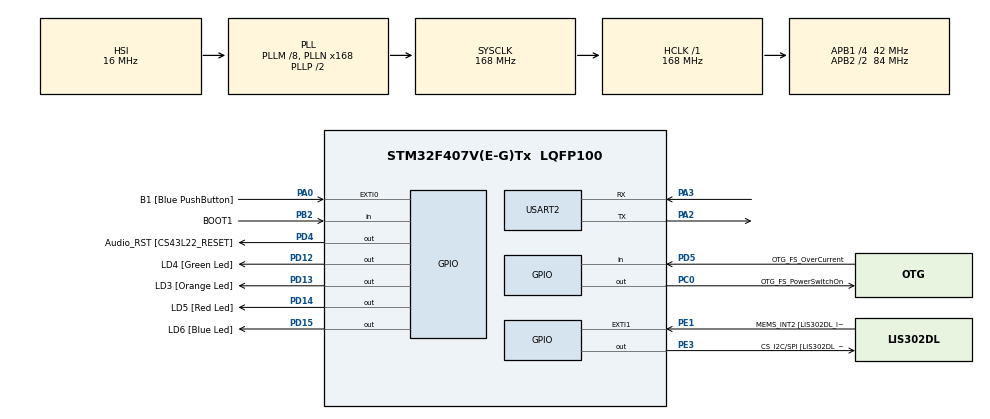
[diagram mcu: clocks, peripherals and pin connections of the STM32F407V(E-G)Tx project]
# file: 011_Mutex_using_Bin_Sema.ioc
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Mcu.Family=STM32F4
Mcu.Name=STM32F407V(E-G)Tx
Mcu.Package=LQFP100
NVIC.PriorityGroup=NVIC_PRIORITYGROUP_4
NVIC.TIM6_DAC_IRQn=true\:15\:0\:false\:false\:true\:false\:true\:true
NVIC.TimeBase=TIM6_DAC_IRQn
NVIC.TimeBaseIP=TIM6
NVIC.USART2_IRQn=true\:1\:0\:true\:false\:true\:true\:true\:true
PA0-WKUP.GPIO_Label=B1 [Blue PushButton]
PA0-WKUP.Signal=GPXTI0
PA10.GPIO_Label=OTG_FS_ID
PA10.GPIO_Mode=GPIO_MODE_AF_PP
PA10.GPIO_PuPd=GPIO_NOPULL
PA10.GPIO_Speed=GPIO_SPEED_FREQ_LOW
PA10.Signal=USB_OTG_FS_ID
PA11.GPIO_Label=OTG_FS_DM
PA11.GPIO_Mode=GPIO_MODE_AF_PP
PA11.GPIO_PuPd=GPIO_NOPULL
PA11.GPIO_Speed=GPIO_SPEED_FREQ_LOW
PA11.Signal=USB_OTG_FS_DM
PA12.GPIO_Label=OTG_FS_DP
PA12.GPIO_Mode=GPIO_MODE_AF_PP
PA12.GPIO_PuPd=GPIO_NOPULL
PA12.GPIO_Speed=GPIO_SPEED_FREQ_LOW
PA12.Signal=USB_OTG_FS_DP
PA13.GPIO_Label=SWDIO
PA13.Signal=SYS_JTMS-SWDIO
PA14.GPIO_Label=SWCLK
PA14.Signal=SYS_JTCK-SWCLK
PA2.Mode=Asynchronous
PA2.Signal=USART2_TX
PA3.Mode=Asynchronous
PA3.Signal=USART2_RX
PA4.GPIO_Label=I2S3_WS [CS43L22_LRCK]
PA4.GPIO_Mode=GPIO_MODE_AF_PP
PA4.GPIO_PuPd=GPIO_NOPULL
PA4.GPIO_Speed=GPIO_SPEED_FREQ_LOW
PA4.Signal=I2S3_WS
PA5.GPIO_Label=SPI1_SCK [LIS302DL_SCL/SPC]
PA5.GPIO_Mode=GPIO_MODE_AF_PP
PA5.GPIO_PuPd=GPIO_NOPULL
PA5.GPIO_Speed=GPIO_SPEED_FREQ_LOW
PA5.Signal=SPI1_SCK
PA6.GPIO_Label=SPI1_MISO [LIS302DL_SDO]
PA6.GPIO_Mode=GPIO_MODE_AF_PP
PA6.GPIO_PuPd=GPIO_NOPULL
PA6.GPIO_Speed=GPIO_SPEED_FREQ_LOW
PA6.Signal=SPI1_MISO
PA7.GPIO_Label=SPI1_MOSI [LIS302DL_SDA/SDI/SDO]
PA7.GPIO_Mode=GPIO_MODE_AF_PP
PA7.GPIO_PuPd=GPIO_NOPULL
PA7.GPIO_Speed=GPIO_SPEED_FREQ_LOW
PA7.Signal=SPI1_MOSI
PA9.GPIO_Label=VBUS_FS
PA9.GPIO_Mode=GPIO_MODE_INPUT
PA9.GPIO_PuPd=GPIO_NOPULL
PA9.Signal=USB_OTG_FS_VBUS
PB10.GPIO_Label=CLK_IN [MP45DT02_CLK]
PB10.GPIO_Mode=GPIO_MODE_AF_PP
PB10.GPIO_PuPd=GPIO_NOPULL
PB10.GPIO_Speed=GPIO_SPEED_FREQ_LOW
PB10.Signal=I2S2_CK
PB2.GPIO_Label=BOOT1
PB2.GPIO_Mode=GPIO_MODE_INPUT
PB2.GPIO_PuPd=GPIO_NOPULL
PB2.Signal=GPIO_Input
PB3.GPIO_Label=SWO
PB3.Signal=SYS_JTDO-SWO
PB6.GPIO_Label=Audio_SCL [CS43L22_SCL]
PB6.GPIO_Mode=GPIO_MODE_AF_OD
PB6.GPIO_PuPd=GPIO_NOPULL
PB6.GPIO_Speed=GPIO_SPEED_FREQ_LOW
PB6.Signal=I2C1_SCL
PB9.GPIO_Label=Audio_SDA [CS43L22_SDA]
PB9.GPIO_Mode=GPIO_MODE_AF_OD
PB9.GPIO_PuPd=GPIO_NOPULL
PB9.GPIO_Speed=GPIO_SPEED_FREQ_LOW
PB9.Signal=I2C1_SDA
PC0.GPIO_Label=OTG_FS_PowerSwitchOn
PC0.GPIO_PuPd=GPIO_NOPULL
PC0.GPIO_Speed=GPIO_SPEED_FREQ_LOW
PC0.PinState=GPIO_PIN_SET
PC0.Signal=GPIO_Output
PC10.GPIO_Label=I2S3_SCK [CS43L22_SCLK]
PC10.GPIO_Mode=GPIO_MODE_AF_PP
PC10.GPIO_PuPd=GPIO_NOPULL
PC10.GPIO_Speed=GPIO_SPEED_FREQ_LOW
PC10.Signal=I2S3_CK
PC12.GPIO_Label=I2S3_SD [CS43L22_SDIN]
PC12.GPIO_Mode=GPIO_MODE_AF_PP
PC12.GPIO_PuPd=GPIO_NOPULL
PC12.GPIO_Speed=GPIO_SPEED_FREQ_LOW
PC12.Signal=I2S3_SD
PC14-OSC32_IN.GPIO_Label=PC14-OSC32_IN
PC14-OSC32_IN.Signal=RCC_OSC32_IN
PC15-OSC32_OUT.GPIO_Label=PC15-OSC32_OUT
PC15-OSC32_OUT.Signal=RCC_OSC32_OUT
PC3.GPIO_Label=PDM_OUT [MP45DT02_DOUT]
PC3.GPIO_Mode=GPIO_MODE_AF_PP
PC3.GPIO_PuPd=GPIO_NOPULL
PC3.GPIO_Speed=GPIO_SPEED_FREQ_LOW
PC3.Signal=I2S2_SD
PC7.GPIO_Label=I2S3_MCK [CS43L22_MCLK]
PC7.GPIO_Mode=GPIO_MODE_AF_PP
PC7.GPIO_PuPd=GPIO_NOPULL
PC7.GPIO_Speed=GPIO_SPEED_FREQ_LOW
PC7.Signal=I2S3_MCK
PD12.GPIO_Label=LD4 [Green Led]
PD12.GPIO_PuPd=GPIO_NOPULL
PD12.GPIO_Speed=GPIO_SPEED_FREQ_LOW
PD12.Signal=GPIO_Output
PD13.GPIO_Label=LD3 [Orange Led]
PD13.GPIO_PuPd=GPIO_NOPULL
PD13.GPIO_Speed=GPIO_SPEED_FREQ_LOW
PD13.Signal=GPIO_Output
PD14.GPIO_Label=LD5 [Red Led]
PD14.GPIO_PuPd=GPIO_NOPULL
PD14.GPIO_Speed=GPIO_SPEED_FREQ_LOW
PD14.Signal=GPIO_Output
PD15.GPIO_Label=LD6 [Blue Led]
PD15.GPIO_PuPd=GPIO_NOPULL
PD15.GPIO_Speed=GPIO_SPEED_FREQ_LOW
PD15.Signal=GPIO_Output
PD4.GPIO_Label=Audio_RST [CS43L22_RESET]
PD4.GPIO_PuPd=GPIO_NOPULL
PD4.GPIO_Speed=GPIO_SPEED_FREQ_LOW
PD4.Signal=GPIO_Output
PD5.GPIO_Label=OTG_FS_OverCurrent
PD5.GPIO_Mode=GPIO_MODE_INPUT
PD5.GPIO_PuPd=GPIO_NOPULL
PD5.Signal=GPIO_Input
PE1.GPIO_Label=MEMS_INT2 [LIS302DL_INT2]
PE1.GPIO_ModeDefaultEXTI=GPIO_MODE_EVT_RISING
PE1.GPIO_PuPd=GPIO_NOPULL
PE1.Signal=GPXTI1
PE3.GPIO_Label=CS_I2C/SPI [LIS302DL_CS_I2C/SPI]
PE3.GPIO_PuPd=GPIO_NOPULL
PE3.GPIO_Speed=GPIO_SPEED_FREQ_LOW
PE3.Signal=GPIO_Output
PH0-OSC_IN.GPIO_Label=PH0-OSC_IN
PH0-OSC_IN.Signal=RCC_OSC_IN
PH1-OSC_OUT.GPIO_Label=PH1-OSC_OUT
PH1-OSC_OUT.Signal=RCC_OSC_OUT
ProjectManager.HeapSize=0x200
ProjectManager.StackSize=0x400
ProjectManager.TargetToolchain=STM32CubeIDE
RCC.48MHZClocksFreq_Value=48000000
RCC.AHBFreq_Value=168000000
RCC.APB1CLKDivider=RCC_HCLK_DIV4
RCC.APB1Freq_Value=42000000
RCC.APB1TimFreq_Value=84000000
RCC.APB2CLKDivider=RCC_HCLK_DIV2
RCC.APB2Freq_Value=84000000
RCC.APB2TimFreq_Value=168000000
RCC.CortexFreq_Value=168000000
RCC.HCLKFreq_Value=168000000
RCC.HSE_VALUE=8000000
RCC.HSI_VALUE=16000000
RCC.LSE_VALUE=32768
RCC.PLLM=8
RCC.PLLN=168
RCC.PLLQ=7
RCC.SYSCLKFreq_VALUE=168000000
RCC.SYSCLKSource=RCC_SYSCLKSOURCE_PLLCLK
RCC.VCOOutputFreq_Value=336000000
USART2.VirtualMode=VM_ASYNC
VP_SYS_VS_tim6.Mode=TIM6
board=STM32F407G-DISC1

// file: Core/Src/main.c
/* USER CODE BEGIN Header */
/**
  ******************************************************************************
  * @file           : main.c
  * @brief          : Main program body
  ******************************************************************************
  * @attention
  *
  * Copyright (c) 2024 STMicroelectronics.
  * All rights reserved.
  *
  * This software is licensed under terms that can be found in the LICENSE file
  * in the root directory of this software component.
  * If no LICENSE file comes with this software, it is provided AS-IS.
  *
  ******************************************************************************
  */
/* USER CODE END Header */
#include "main.h"

UART_HandleTypeDef huart2;

void SystemClock_Config(void);
static void MX_GPIO_Init(void);
static void MX_USART2_UART_Init(void);

/* USER CODE BEGIN 0 */
void vTask1(void *pvParameters);
void vTask2(void *pvParameters);

SemaphoreHandle_t handle_sema;
TaskHandle_t handle_task1 = NULL;
TaskHandle_t handle_task2 = NULL;

char usr_msg[250];

//SemaphoreHandle_t hanlde_sema;
/* USER CODE END 0 */

int main(void)
{

  /* USER CODE BEGIN 1 */
	BaseType_t status;

  /* USER CODE END 1 */

  /* MCU Configuration--------------------------------------------------------*/

  /* Reset of all peripherals, Initializes the Flash interface and the Systick. */
  HAL_Init();

  /* Configure the system clock */
  SystemClock_Config();

  /* Initialize all configured peripherals */
  MX_GPIO_Init();
  MX_USART2_UART_Init();
  /* USER CODE BEGIN 2 */

  sprintf(usr_msg, "Demo of mutual exclusion using binary semaphore\r\n");
  HAL_UART_Transmit(&huart2, (uint8_t*)usr_msg, strlen(usr_msg), HAL_MAX_DELAY);

  vSemaphoreCreateBinary(handle_sema);

  if(handle_sema != NULL)
  {

	  status = xTaskCreate(vTask1, "Task1", 500, NULL, 1, &handle_task1);
	  configASSERT(status == pdPASS);

	  status = xTaskCreate(vTask2, "Task2", 500, NULL, 1, &handle_task2);
	  configASSERT(status == pdPASS);

	  xSemaphoreGive(handle_sema);

	  vTaskStartScheduler();
  }else
  {
	  sprintf(usr_msg, "binary semaphore creation failed\r\n");
	  HAL_UART_Transmit(&huart2, (uint8_t*)usr_msg, strlen(usr_msg), HAL_MAX_DELAY);
  }
  /* USER CODE END 2 */

  /* Infinite loop */
  while (1)
  {

  }
}

void SystemClock_Config(void)
{
  RCC_OscInitTypeDef RCC_OscInitStruct = {0};
  RCC_ClkInitTypeDef RCC_ClkInitStruct = {0};

  /** Configure the main internal regulator output voltage
  */
  __HAL_RCC_PWR_CLK_ENABLE();
  __HAL_PWR_VOLTAGESCALING_CONFIG(PWR_REGULATOR_VOLTAGE_SCALE1);

  /** Initializes the RCC Oscillators according to the specified parameters
  * in the RCC_OscInitTypeDef structure.
  */
  RCC_OscInitStruct.OscillatorType = RCC_OSCILLATORTYPE_HSI;
  RCC_OscInitStruct.HSIState = RCC_HSI_ON;
  RCC_OscInitStruct.HSICalibrationValue = RCC_HSICALIBRATION_DEFAULT;
  RCC_OscInitStruct.PLL.PLLState = RCC_PLL_ON;
  RCC_OscInitStruct.PLL.PLLSource = RCC_PLLSOURCE_HSI;
  RCC_OscInitStruct.PLL.PLLM = 8;
  RCC_OscInitStruct.PLL.PLLN = 168;
  RCC_OscInitStruct.PLL.PLLP = RCC_PLLP_DIV2;
  RCC_OscInitStruct.PLL.PLLQ = 7;
  if (HAL_RCC_OscConfig(&RCC_OscInitStruct) != HAL_OK)
  {
    Error_Handler();
  }

  /** Initializes the CPU, AHB and APB buses clocks
  */
  RCC_ClkInitStruct.ClockType = RCC_CLOCKTYPE_HCLK|RCC_CLOCKTYPE_SYSCLK
                              |RCC_CLOCKTYPE_PCLK1|RCC_CLOCKTYPE_PCLK2;
  RCC_ClkInitStruct.SYSCLKSource = RCC_SYSCLKSOURCE_PLLCLK;
  RCC_ClkInitStruct.AHBCLKDivider = RCC_SYSCLK_DIV1;
  RCC_ClkInitStruct.APB1CLKDivider = RCC_HCLK_DIV4;
  RCC_ClkInitStruct.APB2CLKDivider = RCC_HCLK_DIV2;

  if (HAL_RCC_ClockConfig(&RCC_ClkInitStruct, FLASH_LATENCY_5) != HAL_OK)
  {
    Error_Handler();
  }
}

static void MX_USART2_UART_Init(void)
{

  huart2.Instance = USART2;
  huart2.Init.BaudRate = 115200;
  huart2.Init.WordLength = UART_WORDLENGTH_8B;
  huart2.Init.StopBits = UART_STOPBITS_1;
  huart2.Init.Parity = UART_PARITY_NONE;
  huart2.Init.Mode = UART_MODE_TX_RX;
  huart2.Init.HwFlowCtl = UART_HWCONTROL_NONE;
  huart2.Init.OverSampling = UART_OVERSAMPLING_16;
  if (HAL_UART_Init(&huart2) != HAL_OK)
  {
    Error_Handler();
  }

}

static void MX_GPIO_Init(void)
{
  GPIO_InitTypeDef GPIO_InitStruct = {0};

  /* GPIO Ports Clock Enable */
  __HAL_RCC_GPIOE_CLK_ENABLE();
  __HAL_RCC_GPIOC_CLK_ENABLE();
  __HAL_RCC_GPIOH_CLK_ENABLE();
  __HAL_RCC_GPIOA_CLK_ENABLE();
  __HAL_RCC_GPIOB_CLK_ENABLE();
  __HAL_RCC_GPIOD_CLK_ENABLE();

  /*Configure GPIO pin Output Level */
  HAL_GPIO_WritePin(CS_I2C_SPI_GPIO_Port, CS_I2C_SPI_Pin, GPIO_PIN_RESET);

  /*Configure GPIO pin Output Level */
  HAL_GPIO_WritePin(OTG_FS_PowerSwitchOn_GPIO_Port, OTG_FS_PowerSwitchOn_Pin, GPIO_PIN_SET);

  /*Configure GPIO pin Output Level */
  HAL_GPIO_WritePin(GPIOD, LD4_Pin|LD3_Pin|LD5_Pin|LD6_Pin
                          |Audio_RST_Pin, GPIO_PIN_RESET);

  /*Configure GPIO pin : CS_I2C_SPI_Pin */
  GPIO_InitStruct.Pin = CS_I2C_SPI_Pin;
  GPIO_InitStruct.Mode = GPIO_MODE_OUTPUT_PP;
  GPIO_InitStruct.Pull = GPIO_NOPULL;
  GPIO_InitStruct.Speed = GPIO_SPEED_FREQ_LOW;
  HAL_GPIO_Init(CS_I2C_SPI_GPIO_Port, &GPIO_InitStruct);

  /*Configure GPIO pin : OTG_FS_PowerSwitchOn_Pin */
  GPIO_InitStruct.Pin = OTG_FS_PowerSwitchOn_Pin;
  GPIO_InitStruct.Mode = GPIO_MODE_OUTPUT_PP;
  GPIO_InitStruct.Pull = GPIO_NOPULL;
  GPIO_InitStruct.Speed = GPIO_SPEED_FREQ_LOW;
  HAL_GPIO_Init(OTG_FS_PowerSwitchOn_GPIO_Port, &GPIO_InitStruct);

  /*Configure GPIO pin : PDM_OUT_Pin */
  GPIO_InitStruct.Pin = PDM_OUT_Pin;
  GPIO_InitStruct.Mode = GPIO_MODE_AF_PP;
  GPIO_InitStruct.Pull = GPIO_NOPULL;
  GPIO_InitStruct.Speed = GPIO_SPEED_FREQ_LOW;
  GPIO_InitStruct.Alternate = GPIO_AF5_SPI2;
  HAL_GPIO_Init(PDM_OUT_GPIO_Port, &GPIO_InitStruct);

  /*Configure GPIO pin : B1_Pin */
  GPIO_InitStruct.Pin = B1_Pin;
  GPIO_InitStruct.Mode = GPIO_MODE_IT_RISING;
  GPIO_InitStruct.Pull = GPIO_NOPULL;
  HAL_GPIO_Init(B1_GPIO_Port, &GPIO_InitStruct);

  /*Configure GPIO pin : I2S3_WS_Pin */
  GPIO_InitStruct.Pin = I2S3_WS_Pin;
  GPIO_InitStruct.Mode = GPIO_MODE_AF_PP;
  GPIO_InitStruct.Pull = GPIO_NOPULL;
  GPIO_InitStruct.Speed = GPIO_SPEED_FREQ_LOW;
  GPIO_InitStruct.Alternate = GPIO_AF6_SPI3;
  HAL_GPIO_Init(I2S3_WS_GPIO_Port, &GPIO_InitStruct);

  /*Configure GPIO pins : SPI1_SCK_Pin SPI1_MISO_Pin SPI1_MOSI_Pin */
  GPIO_InitStruct.Pin = SPI1_SCK_Pin|SPI1_MISO_Pin|SPI1_MOSI_Pin;
  GPIO_InitStruct.Mode = GPIO_MODE_AF_PP;
  GPIO_InitStruct.Pull = GPIO_NOPULL;
  GPIO_InitStruct.Speed = GPIO_SPEED_FREQ_LOW;
  GPIO_InitStruct.Alternate = GPIO_AF5_SPI1;
  HAL_GPIO_Init(GPIOA, &GPIO_InitStruct);

  /*Configure GPIO pin : BOOT1_Pin */
  GPIO_InitStruct.Pin = BOOT1_Pin;
  GPIO_InitStruct.Mode = GPIO_MODE_INPUT;
  GPIO_InitStruct.Pull = GPIO_NOPULL;
  HAL_GPIO_Init(BOOT1_GPIO_Port, &GPIO_InitStruct);

  /*Configure GPIO pin : CLK_IN_Pin */
  GPIO_InitStruct.Pin = CLK_IN_Pin;
  GPIO_InitStruct.Mode = GPIO_MODE_AF_PP;
  GPIO_InitStruct.Pull = GPIO_NOPULL;
  GPIO_InitStruct.Speed = GPIO_SPEED_FREQ_LOW;
  GPIO_InitStruct.Alternate = GPIO_AF5_SPI2;
  HAL_GPIO_Init(CLK_IN_GPIO_Port, &GPIO_InitStruct);

  /*Configure GPIO pins : LD4_Pin LD3_Pin LD5_Pin LD6_Pin
                           Audio_RST_Pin */
  GPIO_InitStruct.Pin = LD4_Pin|LD3_Pin|LD5_Pin|LD6_Pin
                          |Audio_RST_Pin;
  GPIO_InitStruct.Mode = GPIO_MODE_OUTPUT_PP;
  GPIO_InitStruct.Pull = GPIO_NOPULL;
  GPIO_InitStruct.Speed = GPIO_SPEED_FREQ_LOW;
  HAL_GPIO_Init(GPIOD, &GPIO_InitStruct);

  /*Configure GPIO pins : I2S3_MCK_Pin I2S3_SCK_Pin I2S3_SD_Pin */
  GPIO_InitStruct.Pin = I2S3_MCK_Pin|I2S3_SCK_Pin|I2S3_SD_Pin;
  GPIO_InitStruct.Mode = GPIO_MODE_AF_PP;
  GPIO_InitStruct.Pull = GPIO_NOPULL;
  GPIO_InitStruct.Speed = GPIO_SPEED_FREQ_LOW;
  GPIO_InitStruct.Alternate = GPIO_AF6_SPI3;
  HAL_GPIO_Init(GPIOC, &GPIO_InitStruct);

  /*Configure GPIO pin : VBUS_FS_Pin */
  GPIO_InitStruct.Pin = VBUS_FS_Pin;
  GPIO_InitStruct.Mode = GPIO_MODE_INPUT;
  GPIO_InitStruct.Pull = GPIO_NOPULL;
  HAL_GPIO_Init(VBUS_FS_GPIO_Port, &GPIO_InitStruct);

  /*Configure GPIO pins : OTG_FS_ID_Pin OTG_FS_DM_Pin OTG_FS_DP_Pin */
  GPIO_InitStruct.Pin = OTG_FS_ID_Pin|OTG_FS_DM_Pin|OTG_FS_DP_Pin;
  GPIO_InitStruct.Mode = GPIO_MODE_AF_PP;
  GPIO_InitStruct.Pull = GPIO_NOPULL;
  GPIO_InitStruct.Speed = GPIO_SPEED_FREQ_LOW;
  GPIO_InitStruct.Alternate = GPIO_AF10_OTG_FS;
  HAL_GPIO_Init(GPIOA, &GPIO_InitStruct);

  /*Configure GPIO pin : OTG_FS_OverCurrent_Pin */
  GPIO_InitStruct.Pin = OTG_FS_OverCurrent_Pin;
  GPIO_InitStruct.Mode = GPIO_MODE_INPUT;
  GPIO_InitStruct.Pull = GPIO_NOPULL;
  HAL_GPIO_Init(OTG_FS_OverCurrent_GPIO_Port, &GPIO_InitStruct);

  /*Configure GPIO pins : Audio_SCL_Pin Audio_SDA_Pin */
  GPIO_InitStruct.Pin = Audio_SCL_Pin|Audio_SDA_Pin;
  GPIO_InitStruct.Mode = GPIO_MODE_AF_OD;
  GPIO_InitStruct.Pull = GPIO_NOPULL;
  GPIO_InitStruct.Speed = GPIO_SPEED_FREQ_LOW;
  GPIO_InitStruct.Alternate = GPIO_AF4_I2C1;
  HAL_GPIO_Init(GPIOB, &GPIO_InitStruct);

  /*Configure GPIO pin : MEMS_INT2_Pin */
  GPIO_InitStruct.Pin = MEMS_INT2_Pin;
  GPIO_InitStruct.Mode = GPIO_MODE_EVT_RISING;
  GPIO_InitStruct.Pull = GPIO_NOPULL;
  HAL_GPIO_Init(MEMS_INT2_GPIO_Port, &GPIO_InitStruct);

}

/* USER CODE BEGIN 4 */
void vTask1(void *pvParameters)
{
	const char *pcTaskName = "Task 1 is running\r\n";

	while(1)
	{
		xSemaphoreTake(handle_sema, portMAX_DELAY);

		sprintf(usr_msg, "%s", pcTaskName);
		HAL_UART_Transmit(&huart2, (uint8_t*)usr_msg, strlen(usr_msg), HAL_MAX_DELAY);

		xSemaphoreGive(handle_sema);

		vTaskDelay(pdMS_TO_TICKS(500));
	}
}

void vTask2(void *pvParameters)
{
	const char *pcTaskName = "Task 2 is running\r\n";

	while(1)
	{
		xSemaphoreTake(handle_sema, portMAX_DELAY);

		sprintf(usr_msg, "%s", pcTaskName);
		HAL_UART_Transmit(&huart2, (uint8_t*)usr_msg, strlen(usr_msg), HAL_MAX_DELAY);

		xSemaphoreGive(handle_sema);

		vTaskDelay(pdMS_TO_TICKS(500));
	}
}
/* USER CODE END 4 */

void HAL_TIM_PeriodElapsedCallback(TIM_HandleTypeDef *htim)
{
  if (htim->Instance == TIM6) {
    HAL_IncTick();
  }
}

void Error_Handler(void)
{
  __disable_irq();
  while (1)
  {
  }
}
